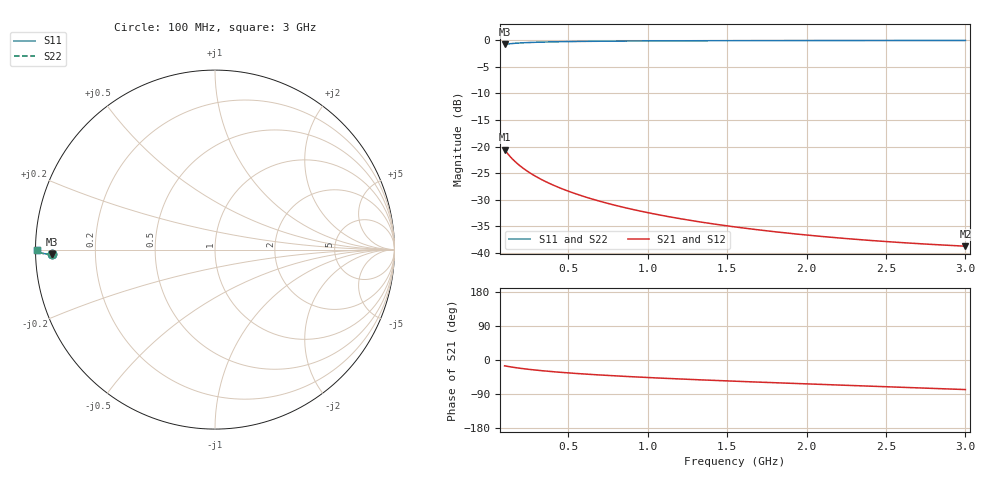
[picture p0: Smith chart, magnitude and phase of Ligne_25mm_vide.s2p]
# HZ S RI R 50
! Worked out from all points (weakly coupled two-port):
!   1001 points, 100 MHz to 3 GHz, reference 50 ohm
!   highest |S21| = -20.58 dB at 100 MHz (marker M1); lowest = -38.7 dB at 3 GHz (marker M2)
!   lowest |S11| = -0.8 dB at 100 MHz (marker M3), VSWR 21.02, Z = 2.38 - j0.672 ohm
!   |S11| at or under -10 dB: nowhere
!   |S22| runs from -0.8 to -0.1 dB; largest |S21 - S12| = 0
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1e8  -0.9088 -0.0245  0.0901 -0.0248  0.0901 -0.0248  -0.9088 -0.0245
1.116e8  -0.9139 -0.0245  0.085 -0.0249  0.085 -0.0249  -0.9139 -0.0245
1.493e8  -0.9266 -0.0243  0.0722 -0.0248  0.0722 -0.0248  -0.9266 -0.0243
1.841e8  -0.9349 -0.024  0.0637 -0.0246  0.0637 -0.0246  -0.9349 -0.024
2.305e8  -0.9431 -0.0235  0.0554 -0.0242  0.0554 -0.0242  -0.9431 -0.0235
2.856e8  -0.9502 -0.0227  0.048 -0.0236  0.048 -0.0236  -0.9502 -0.0227
3.494e8  -0.9564 -0.0218  0.0417 -0.0229  0.0417 -0.0229  -0.9564 -0.0218
4.19e8  -0.9615 -0.0209  0.0364 -0.0222  0.0364 -0.0222  -0.9615 -0.0209
4.973e8  -0.9659 -0.0198  0.0317 -0.0214  0.0317 -0.0214  -0.9659 -0.0198
5.843e8  -0.9697 -0.0187  0.0277 -0.0205  0.0277 -0.0205  -0.9697 -0.0187
6.887e8  -0.9733 -0.0175  0.024 -0.0196  0.024 -0.0196  -0.9733 -0.0175
8.047e8  -0.9763 -0.0162  0.0207 -0.0187  0.0207 -0.0187  -0.9763 -0.0162
9.323e8  -0.9789 -0.0149  0.0178 -0.0177  0.0178 -0.0177  -0.9789 -0.0149
1.0686e9  -0.9811 -0.0137  0.0154 -0.0169  0.0154 -0.0169  -0.9811 -0.0137
1.2977e9  -0.9837 -0.0118  0.0123 -0.0157  0.0123 -0.0157  -0.9837 -0.0118
1.55e9  -0.9857 -0.00997  0.00983 -0.0146  0.00983 -0.0146  -0.9857 -0.00997
1.7849e9  -0.9871 -0.00848  0.00804 -0.0138  0.00804 -0.0138  -0.9871 -0.00848
2.0343e9  -0.9881 -0.00707  0.0065 -0.0131  0.0065 -0.0131  -0.9881 -0.00707
2.2692e9  -0.9888 -0.00585  0.0053 -0.0125  0.0053 -0.0125  -0.9888 -0.00585
2.5186e9  -0.9893 -0.00467  0.0042 -0.0121  0.0042 -0.0121  -0.9893 -0.00467
2.7651e9  -0.9896 -0.0036  0.00324 -0.0117  0.00324 -0.0117  -0.9896 -0.0036
3e9  -0.9898 -0.00264  0.00241 -0.0113  0.00241 -0.0113  -0.9898 -0.00264
